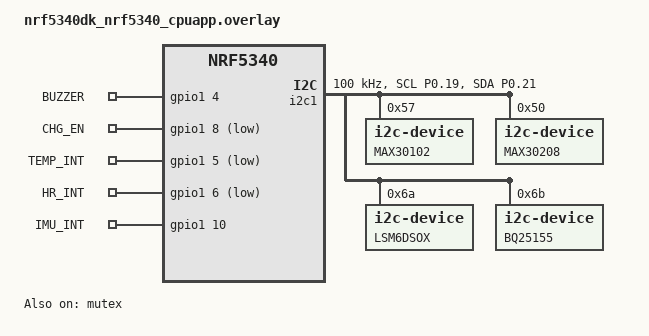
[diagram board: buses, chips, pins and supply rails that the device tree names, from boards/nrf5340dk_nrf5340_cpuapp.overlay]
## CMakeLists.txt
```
# -----------------------------------------------------------------------------
# File: CMakeLists.txt
# Purpose: Full CMake setup for the VitalLink wristband firmware.
# -----------------------------------------------------------------------------

cmake_minimum_required(VERSION 3.20.0)

# Zephyr + project
find_package(Zephyr REQUIRED HINTS $ENV{ZEPHYR_BASE})
project(vitalink_band)

# Public headers
target_include_directories(app PRIVATE
  ${CMAKE_CURRENT_SOURCE_DIR}/include
)

# Devicetree overlay (auto-pick if present)
set(_OVERLAY_PATH ${CMAKE_CURRENT_SOURCE_DIR}/boards/nrf5340dk_nrf5340_cpuapp.overlay)
if(EXISTS ${_OVERLAY_PATH})
  set(DTC_OVERLAY_FILE ${_OVERLAY_PATH} CACHE STRING "" FORCE)
endif()

# Sources (raw I2C paths; no ppg_engine.c)
target_sources(app PRIVATE
  src/main.c
  src/sensors_vitalink.c
  src/pmic_bq25155.c
)

# Math lib for sqrt() used in sensors_vitalink.c
target_link_libraries(app PRIVATE m)
```

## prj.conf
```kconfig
# ---------------------------------------------------------------------------
# VitalLink Band — prj.conf (nRF5340DK / NCS 2.9.x)
# ---------------------------------------------------------------------------

# ===== Bluetooth Core (Peripheral role) =====
CONFIG_BT_HCI=y
CONFIG_BT=y
CONFIG_BT_PERIPHERAL=y
CONFIG_BT_DEVICE_NAME_DYNAMIC=y
CONFIG_BT_PRIVACY=y
CONFIG_BT_SMP=y
CONFIG_BT_SETTINGS=y
CONFIG_SETTINGS=y
CONFIG_FLASH=y
CONFIG_FLASH_MAP=y # shouldnt be an issue
CONFIG_NVS=y

# ===== Bufs / MTU =====
CONFIG_BT_BUF_ACL_RX_SIZE=251
CONFIG_BT_BUF_ACL_TX_SIZE=251
CONFIG_BT_BUF_ACL_TX_COUNT=10
CONFIG_BT_L2CAP_TX_MTU=247
CONFIG_BT_MAX_CONN=1
CONFIG_BT_MAX_PAIRED=8

# ===== I2C / GPIO =====
CONFIG_I2C=y
CONFIG_GPIO=y

# ===== Sensors core =====
CONFIG_SENSOR=y

# ===== Logging over RTT =====
CONFIG_LOG=y
CONFIG_LOG_DEFAULT_LEVEL=3
CONFIG_SEGGER_RTT_MODE_BLOCK_IF_FIFO_FULL=y
CONFIG_USE_SEGGER_RTT=y
CONFIG_LOG_BACKEND_RTT=y
CONFIG_LOG_MODE_IMMEDIATE=y
CONFIG_LOG_MODE_DEFERRED=y
CONFIG_UART_CONSOLE=n
CONFIG_LOG_BACKEND_UART=n
CONFIG_RTT_CONSOLE=y


# ===== QoL / Debug =====
CONFIG_ASSERT=y
CONFIG_THREAD_NAME=y
CONFIG_INIT_STACKS=y

# ===== Stacks =====
CONFIG_MAIN_STACK_SIZE=4096
CONFIG_SYSTEM_WORKQUEUE_STACK_SIZE=4096

# Turn on debug logging for I2C drivers
CONFIG_I2C_LOG_LEVEL_DBG=y
CONFIG_BT_PRIVACY=n
CONFIG_BT_DEVICE_NAME_DYNAMIC=y
CONFIG_BT_DEVICE_NAME="VitalLink"
CONFIG_BT_AUTO_PHY_UPDATE=n
```

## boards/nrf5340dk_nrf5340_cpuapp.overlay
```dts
/* boards/nrf5340dk_nrf5340_cpuapp.overlay
 *
 * VitalLink wristband overlay (nRF5340 DK app core)
 * - I2C1 on P0.19 (SCL) / P0.21 (SDA)
 * - Buzzer on P1.04 (active-high)
 * - Temp INT=P1.05 (active-low), HR INT=P1.06 (active-low), IMU INT=P1.10 (active-high)
 * - CHG_EN on P1.08 (active-low to enable)
 * - I2C devices: MAX30102 @0x57, MAX30208 @0x4A, LSM6DSOX @0x6A, BQ25155 @0x6B
 */

/* --- I2C1 pinctrl --- */
&pinctrl {
	i2c1_default: i2c1_default {
		group1 {
			psels = <NRF_PSEL(TWIM_SCL, 0, 19)>,
			        <NRF_PSEL(TWIM_SDA, 0, 21)>;
		};
	};

	i2c1_sleep: i2c1_sleep {
		group1 {
			psels = <NRF_PSEL(TWIM_SCL, 0, 19)>,
			        <NRF_PSEL(TWIM_SDA, 0, 21)>;
			low-power-enable;
		};
	};
};

/* --- I2C1 controller + devices --- */
&i2c1 {
	status = "okay";
	clock-frequency = <I2C_BITRATE_STANDARD>; /* 100 kHz */
	pinctrl-0 = <&i2c1_default>;
	pinctrl-1 = <&i2c1_sleep>;
	pinctrl-names = "default", "sleep";

	/* MAX30102 Heart Rate / SpO2 sensor */
	max30102@57 {
		compatible = "i2c-device";
		// compatible = "maxim,max30102";
		reg = <0x57>;
		status = "okay";
		label = "MAX30102";
	};

	/* MAX30208 Skin Temperature sensor*/
	max30208@50 {
		compatible = "i2c-device";
		// compatible = "maxim,max30208";
		reg = <0x50>;
		status = "okay";
		label = "MAX30208";
	};

	/* LSM6DSOX 6-axis IMU */
	lsm6dsox@6a {
		compatible = "i2c-device";
		// compatible = "st,lsm6dsox";
		reg = <0x6a>; /* 0x6b if SA0 high */
		status = "okay";
		label = "LSM6DSOX";
	};

	/* TI BQ25155 PMIC / Charger (node present even if no driver in use) */
	bq25155@6b {
		compatible = "i2c-device";
		// compatible = "ti,bq25155";
		reg = <0x6b>;
		status = "okay";
		label = "BQ25155";
	};
};

/* --- GPIO-backed peripherals & aliases --- */
 / {
	/* Buzzer (P1.04, active-high) */
	buzzer_grp: buzzer_grp {
		compatible = "gpio-leds";
		buzzer: buzzer {
			gpios = <&gpio1 4 GPIO_ACTIVE_HIGH>;
			label = "BUZZER";
		};
	};

	/* Charge enable to BQ25155 CE_N (P1.08, active-low = enable) */
	chg_grp: chg_grp {
		compatible = "gpio-leds";
		chg_en: chg_en {
			gpios = <&gpio1 8 GPIO_ACTIVE_LOW>;
			label = "CHG_EN";
		};
	};

	/* Sensor interrupt inputs */
	ints: ints {
		compatible = "gpio-keys";

		/* MAX30208 TEMP_INT: active LOW */
		temp_int: temp_int {
			gpios = <&gpio1 5 GPIO_ACTIVE_LOW>;  /* P1.05 */
			label = "TEMP_INT";
		};

		/* MAX30102 HR_INT: active LOW */
		hr_int: hr_int {
			gpios = <&gpio1 6 GPIO_ACTIVE_LOW>;  /* P1.06 */
			label = "HR_INT";
		};

		/* LSM6DSOX IMU_INT: active HIGH */
		imu_int: imu_int {
			gpios = <&gpio1 10 GPIO_ACTIVE_HIGH>; /* P1.10 */
			label = "IMU_INT";
		};
	};

	/* === Aliases that match DT_ALIAS(...) calls in code (use underscores) === */
	aliases {
		i2c-ppg = &i2c1;
		buzzer = &buzzer;
		chg-en  = &chg_en;
		temp-int = &temp_int;
		hr-int   = &hr_int;
		imu-int  = &imu_int;
	};

	ipc {
		status = "okay";
	};
};

&cryptocell {
	status = "disabled";
};

&uart0 {
    status = "disabled";
};
&mutex {
	status = "okay";
};

&mbox {
	status = "okay";
};

&arduino_adc {
	io-channel-map = <0 &adc 0>, <1 &adc 1>, <2 &adc 2>, <3 &adc 3>, <4 &adc 4>, <5 &adc 5>;
};
```

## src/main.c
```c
/* -----------------------------------------------------------------------------
 * File: src/main.c
 * Purpose: VitalLink wristband firmware (nRF5340 DK, NCS v2.9.2)
 *
 * Key features:
 *  - BLE Peripheral with dynamic device name "VitalLink-XXXX"
 *  - Custom GATT service + NOTIFY characteristic (UUIDs in vitalink_uuids.h)
 *  - 1 Hz vitals sampling via sensors_vitalink (raw I2C for MAX30102/LSM6DSOX/MAX30208),
 *    tiering, checksum
 *  - BATTERY + CHARGING via BQ25155 over I2C:
 *      * Low-battery flag injected into packet flags
 *      * "Docked idle" while charging: stop BLE/sampling, poll PMIC every 3 s,
 *        resume automatically when unplugged
 *  - Optional buzzer (P1.04 active-high) on EMERGENCY tier
 *  - I2C1 on P0.19 (SCL) / P0.21 (SDA) for sensors + PMIC
 * --------------------------------------------------------------------------- */

#include <zephyr/kernel.h>
#include <zephyr/settings/settings.h>
#include <zephyr/device.h>
#include <zephyr/devicetree.h>
#include <zephyr/drivers/i2c.h>
#include <zephyr/drivers/gpio.h>
#include <zephyr/bluetooth/bluetooth.h>
#include <zephyr/bluetooth/gatt.h>
#include <zephyr/bluetooth/hci.h>
#include <zephyr/logging/log.h>
#include <stdbool.h>
#include <string.h>

#include "sensors_vitalink.h"
#include "vitalink_uuids.h"
#include "vitalink_proto.h"
#include "pmic_bq25155.h"

LOG_MODULE_REGISTER(vitalink, LOG_LEVEL_INF);

/* ===== I2C handle (sensors + PMIC) ======================================= */
/* Overlay alias is 'i2c-ppg'; Zephyr macro uses underscore form 'i2c_ppg' */
#define I2C_NODE DT_ALIAS(i2c_ppg)
static const struct device *i2c0_dev;

/* ===== Optional buzzer (active-high in devicetree) ======================= */
#if DT_NODE_HAS_STATUS(DT_ALIAS(buzzer), okay)
#define HAS_BUZZER 1
static const struct gpio_dt_spec buzzer = GPIO_DT_SPEC_GET(DT_ALIAS(buzzer), gpios);
#else
#define HAS_BUZZER 0
#endif

/* ===== Aliased GPIOs for INTs and charge enable ========================== */
static const struct gpio_dt_spec pin_temp_int = GPIO_DT_SPEC_GET(DT_ALIAS(temp_int), gpios);
static const struct gpio_dt_spec pin_hr_int   = GPIO_DT_SPEC_GET(DT_ALIAS(hr_int),   gpios);
static const struct gpio_dt_spec pin_imu_int  = GPIO_DT_SPEC_GET(DT_ALIAS(imu_int),  gpios);
static const struct gpio_dt_spec pin_chg_en   = GPIO_DT_SPEC_GET(DT_ALIAS(chg_en),   gpios);

/* ===== BLE UUIDs ========================================================= */
static struct bt_uuid_128 svc_uuid = VITALINK_SERVICE_UUID_INIT;
static struct bt_uuid_128 chr_uuid = VITALS_CHAR_UUID_INIT;

/* CCC subscription flag */
static uint8_t notify_enabled;

/* OPTIONAL: track connection so notify targets the active central */
static struct bt_conn *current_conn;

/* ===== Battery thresholds (mV) =========================================== */
#define LOW_BATT_ALERT_MV    3500
#define LOW_BATT_RECOVER_MV  3600

/* ===== Tier thresholds (defaults; refine clinically later) =============== */
#define HR_ALERT_BPM        120
#define HR_EMERG_BPM        140
#define SPO2_ALERT_PCT       92
#define SPO2_EMERG_PCT       88
#define TEMP_ALERT_C_X100  3800   /* 38.00 C */
#define TEMP_EMERG_C_X100  3950   /* 39.50 C */

#define BUZZER_ON_MS_EMERG  300

/* "extreme motion" (possible fall)          */
/* act_rms_x100 is RMS acceleration in g * 100 (≈200 at 2 g full-scale).    */
#define FALL_ACCEL_THRESHOLD_X100  300   /* ~1.8 g – tweak based on testing */

/* ===== App state ========================================================= */
enum run_state { RUN_NORMAL = 0, DOCKED_IDLE = 1 };
static enum run_state pwr_state = RUN_NORMAL;
static bool low_batt_flag = false;

static struct k_work_delayable tick_work;   /* 1 Hz vitals */
static struct k_work_delayable pmic_work;   /* 3 s PMIC poll */
static uint16_t seq;

/* ===== GATT service/CCC ================================================== */
static void ccc_cfg_changed(const struct bt_gatt_attr *attr, uint16_t value)
{
	notify_enabled = (value == BT_GATT_CCC_NOTIFY);
	LOG_INF("Notify %s", notify_enabled ? "ENABLED" : "DISABLED");
}

/* Attr idx:
 * [0] Primary Service
 * [1] Char Declaration
 * [2] Char VALUE (notify targets this)
 * [3] CCC
 */
BT_GATT_SERVICE_DEFINE(vitalink_svc,
	BT_GATT_PRIMARY_SERVICE(&svc_uuid),
	BT_GATT_CHARACTERISTIC(&chr_uuid.uuid,
		BT_GATT_CHRC_NOTIFY,
		BT_GATT_PERM_NONE,
		NULL, NULL, NULL),
	BT_GATT_CCC(ccc_cfg_changed, BT_GATT_PERM_READ | BT_GATT_PERM_WRITE)
);

/* ===== Connection callbacks ============================================== */
static void connected(struct bt_conn *conn, uint8_t err)
{
	if (err) {
		LOG_WRN("Connected failed (err %u)", err);
		return;
	}
	current_conn = bt_conn_ref(conn);
	LOG_INF("Connected");
}

static void disconnected(struct bt_conn *conn, uint8_t reason)
{
	ARG_UNUSED(conn);
	LOG_INF("Disconnected (reason %u)", reason);
	if (current_conn) {
		bt_conn_unref(current_conn);
		current_conn = NULL;
	}
}

BT_CONN_CB_DEFINE(conn_cb) = {
	.connected = connected,
	.disconnected = disconnected,
};

/* ===== BLE name + address helper ========================================= */
#define VITALINK_DYN_NAME_MAX 32

static void set_dynamic_name_from_addr(void)
{
    bt_addr_le_t addrs[CONFIG_BT_ID_MAX];
    size_t count = CONFIG_BT_ID_MAX;

    /* bt_id_get() fills addrs[0..count-1] and updates count */
    bt_id_get(addrs, &count);

    if (count == 0) {
        LOG_WRN("No BLE identities found; keeping default name");
        return;
    }

    const uint8_t *v = addrs[0].a.val; /* 6 bytes, LE order */

    char dyn_name[VITALINK_DYN_NAME_MAX];
    snprintk(dyn_name, sizeof(dyn_name), "VitalLink-%02X%02X", v[1], v[0]);

    int err = bt_set_name(dyn_name);
    if (err) {
        LOG_WRN("bt_set_name failed (%d)", err);
    } else {
        LOG_INF("BLE name set to: %s", dyn_name);
    }
}



#define VITALLINK_NAME "VitalLink-5CB3"

/* explicit AD payload bytes so the compiler is happy */
static const uint8_t adv_flags[] = {
    BT_LE_AD_GENERAL | BT_LE_AD_NO_BREDR,
};

static const uint8_t adv_name[] = VITALLINK_NAME;

static int start_advertising(void)
{
    /* explicit advertising data: Flags + Complete Local Name */
    static const struct bt_data ad[] = {
        BT_DATA(BT_DATA_FLAGS, adv_flags, sizeof(adv_flags)),
        BT_DATA(BT_DATA_NAME_COMPLETE, adv_name, sizeof(adv_name) - 1),
    };

    /* connectable legacy advertising params */
    static const struct bt_le_adv_param adv = BT_LE_ADV_PARAM_INIT(
        BT_LE_ADV_OPT_CONNECTABLE,      /* no USE_NAME here, we put name in AD */
        BT_GAP_ADV_FAST_INT_MIN_2,
        BT_GAP_ADV_FAST_INT_MAX_2,
        NULL
    );

    return bt_le_adv_start(&adv, ad, ARRAY_SIZE(ad), NULL, 0);
}



// static int start_advertising(void)
// {
// 	static const struct bt_le_adv_param adv = BT_LE_ADV_PARAM_INIT(
// 		BT_LE_ADV_OPT_CONNECTABLE | BT_LE_ADV_OPT_USE_NAME,
// 		BT_GAP_ADV_FAST_INT_MIN_2,
// 		BT_GAP_ADV_FAST_INT_MAX_2,
// 		NULL
// 	);
// 	return bt_le_adv_start(&adv, NULL, 0, NULL, 0);
// }

/* ===== Checksum helper (8-bit) ========================================== */
static uint8_t checksum8(const uint8_t *p, size_t n)
{
	uint32_t sum = 0;
	for (size_t i = 0; i < n; i++) sum += p[i];
	return (uint8_t)(sum & 0xFF);
}

/* ===== Tier logic ======================================================== */
static uint8_t decide_flags(uint8_t hr_bpm, uint8_t spo2, int16_t skin_c_x100)
{
	if (hr_bpm >= HR_EMERG_BPM || spo2 <= SPO2_EMERG_PCT || skin_c_x100 >= TEMP_EMERG_C_X100) {
		return VFLAG_EMERGENCY;
	}
	if (hr_bpm >= HR_ALERT_BPM || spo2 <= SPO2_ALERT_PCT || skin_c_x100 >= TEMP_ALERT_C_X100) {
		return VFLAG_ALERT;
	}
	return 0;
}

static inline uint8_t apply_system_flags(uint8_t base_flags)
{
	if (low_batt_flag) base_flags |= VFLAG_LOW_BATT;
	return base_flags;
}

static void buzzer_pulse_emergency(void)
{
#if HAS_BUZZER
	if (!device_is_ready(buzzer.port)) {
		LOG_WRN("buzzer port not ready in pulse");
		return;
	}

	/* NOTE: assumes buzzer is active-high in devicetree; change if PCB is active-low */
	LOG_INF("Emergency buzzer pulse");
	gpio_pin_set_dt(&buzzer, 1);
	k_sleep(K_MSEC(BUZZER_ON_MS_EMERG));
	gpio_pin_set_dt(&buzzer, 0);
#endif
}

/* ===== Packet debug logging ============================================= */
static void log_vitals_debug(const struct vitals_pkt *p, bool will_tx)
{
    /* Pretty-print temperature from x100 format */
    int16_t t = p->skin_c_x100;
    int16_t t_whole = t / 100;
    int16_t t_frac  = t >= 0 ? (t % 100) : -(t % 100);

    LOG_INF("VITALS %s: ver=%u seq=%u ts_ms=%u flags=0x%02x "
            "HR=%u BPM SpO2=%u%% Temp=%d.%02d C act_rms_x100=%u checksum=0x%02X",
            will_tx ? "[TX]" : "[NO-TX]",
            p->ver,
            p->seq,
            p->ts_ms,
            p->flags,
            p->hr_bpm,
            p->spo2,
            t_whole,
            t_frac,
            p->act_rms_x100,
            p->checksum);

}

/* ===== Notify helper ===================================================== */
static void send_vitals(const struct vitals_pkt *pkt)
{
    if (!notify_enabled) {
        LOG_DBG("Notification skipped: CCCD disabled");
        return;
    }

    const struct bt_gatt_attr *attr = &vitalink_svc.attrs[2]; /* value attr */
    int err = bt_gatt_notify(current_conn, attr, pkt, sizeof(*pkt));
    if (err == -ENOTCONN) {
        /* Try all connections if current_conn is gone */
        err = bt_gatt_notify(NULL, attr, pkt, sizeof(*pkt));
    }

    if (err) {
        LOG_WRN("notify err %d", err);
    } else {
        int16_t t_whole = pkt->skin_c_x100 / 100;
        int16_t t_frac  = pkt->skin_c_x100 >= 0 ?
                          (pkt->skin_c_x100 % 100) : -(pkt->skin_c_x100 % 100);

        LOG_INF("notify OK (seq=%u, flags=0x%02x, HR=%u, SpO2=%u, "
                "Temp=%d.%02d C, act_rms_x100=%u)",
                pkt->seq, pkt->flags,
                pkt->hr_bpm, pkt->spo2,
                t_whole, t_frac,
                pkt->act_rms_x100);
    }
}


/* ===== Sampling policy =================================================== */
#define NORMAL_HEARTBEAT_MS (60 * 1000)
static uint32_t last_normal_sent_ms = 0;

/* ===== 1 Hz vitals tick ================================================== */
static void tick_fn(struct k_work *work)
{
    ARG_UNUSED(work);

    /* Keep last-good values to bridge noisy windows */
    static uint8_t  last_hr_bpm       = 0;
    static uint8_t  last_spo2         = 0;
    static int16_t  last_skin_c_x100  = 0;
    static uint16_t last_act_rms_x100 = 0;

    uint8_t  hr_bpm;
    uint8_t  spo2;
    int16_t  skin_c_x100;
    uint16_t act_rms_x100;

    /* Single facade call now does everything via raw I2C */
    int s_ok = sensors_read(&hr_bpm, &spo2, &skin_c_x100, &act_rms_x100);
	if (s_ok < 0) {
		LOG_WRN("sensors_read failed (%d); using last values HR=%u, SpO2=%u, Temp=%d, act_rms_x100=%u",
				s_ok, last_hr_bpm, last_spo2, last_skin_c_x100, last_act_rms_x100);

		hr_bpm       = last_hr_bpm;
		spo2         = last_spo2;
		skin_c_x100  = last_skin_c_x100;
		act_rms_x100 = last_act_rms_x100;
	} else {
		LOG_INF("sensors_read OK: HR=%u, SpO2=%u, Temp_x100=%d, act_rms_x100=%u",
				hr_bpm, spo2, skin_c_x100, act_rms_x100);

		last_hr_bpm       = hr_bpm;
		last_spo2         = spo2;
		last_skin_c_x100  = skin_c_x100;
		last_act_rms_x100 = act_rms_x100;
	}

    if (spo2 > 100) spo2 = 100;

    /* Base tier decision from HR / SpO2 / Temp */
    uint8_t flags = decide_flags(hr_bpm, spo2, skin_c_x100);

    /* Extreme motion (possible fall): treat as EMERGENCY as well */
    bool fall_like_motion = (act_rms_x100 >= FALL_ACCEL_THRESHOLD_X100);
    if (fall_like_motion) {
        flags |= VFLAG_EMERGENCY;
        LOG_WRN("Extreme motion detected (act_rms_x100=%u) -> EMERGENCY", act_rms_x100);
    }

    /* Add system-level flags (low battery, etc.) */
    flags = apply_system_flags(flags);

    struct vitals_pkt p = {0};
    p.ver   = VITALINK_PROTO_VER;
    p.seq   = seq++;
    p.ts_ms = k_uptime_get_32();
    p.flags = flags;
    p.hr_bpm       = hr_bpm;
    p.spo2         = spo2;
    p.skin_c_x100  = skin_c_x100;
    p.act_rms_x100 = act_rms_x100;
    p.checksum     = checksum8((const uint8_t *)&p, 14);

    bool should_send = false;
    if (flags & (VFLAG_ALERT | VFLAG_EMERGENCY)) {
        /* ALERT / EMERGENCY: always push immediately */
        should_send = true;
        if (flags & VFLAG_EMERGENCY) {
            buzzer_pulse_emergency();
        }
    } else {
        /* NORMAL: rate-limit BLE to 1 packet per minute */
        uint32_t now = p.ts_ms;
        if ((now - last_normal_sent_ms) >= NORMAL_HEARTBEAT_MS) {
            should_send = true;
            last_normal_sent_ms = now;
        }
    }

    /* NEW: log full packet + fields EVERY SECOND, even if we don't send */
    log_vitals_debug(&p, should_send);

    /* Only actually notify over BLE when warranted */
    if (should_send) {
        send_vitals(&p);
    }

    /* Keep a compact "human" log each second too, if you like: */
    int16_t t_whole = p.skin_c_x100 / 100;
    int16_t t_frac  = p.skin_c_x100 >= 0 ?
                      (p.skin_c_x100 % 100) : -(p.skin_c_x100 % 100);

    LOG_INF("HR=%u BPM, SpO2=%u%%, Temp=%d.%02d C, act_rms_x100=%u %s%s",
            p.hr_bpm,
            p.spo2,
            t_whole, t_frac,
            p.act_rms_x100,
            (flags & VFLAG_LOW_BATT) ? "[LOW_BATT] " : "",
            (flags & VFLAG_EMERGENCY) ? "[EMERG]" :
            (flags & VFLAG_ALERT) ? "[ALERT]" : "");

    /* Re-arm the 1 Hz tick */
    k_work_schedule(&tick_work, K_SECONDS(1));
}


/* ===== PMIC polling: low-batt + docked-idle ============================== */
static void enter_docked_idle(void)
{
	if (pwr_state == DOCKED_IDLE) return;
	bt_le_adv_stop();
	k_work_cancel_delayable(&tick_work);
	pwr_state = DOCKED_IDLE;
	LOG_INF("Docked: charging → pause BLE/sampling");
}

static void exit_docked_idle(void)
{
	if (pwr_state == RUN_NORMAL) return;
	int err = start_advertising();
	if (err) LOG_WRN("adv restart err %d", err);
	k_work_schedule(&tick_work, K_SECONDS(1));
	pwr_state = RUN_NORMAL;
	LOG_INF("Undocked: resume BLE/sampling");
}

static void pmic_fn(struct k_work *work)
{
	ARG_UNUSED(work);
	bool usb_ok=false, charging=false;
	uint16_t vbat_mv=0;

	int s1 = bq25155_read_status(i2c0_dev, &usb_ok, &charging);
	int s2 = bq25155_read_vbat_mv(i2c0_dev, &vbat_mv);

	if (s2 == 0) {
		if (!low_batt_flag && vbat_mv <= LOW_BATT_ALERT_MV) {
			low_batt_flag = true;
			LOG_WRN("Low battery: %u mV", vbat_mv);
		} else if (low_batt_flag && vbat_mv >= LOW_BATT_RECOVER_MV) {
			low_batt_flag = false;
			LOG_INF("Battery recovered: %u mV", vbat_mv);
		}
	}

	if (s1 == 0) {
		if (charging && pwr_state == RUN_NORMAL) {
			enter_docked_idle();
		} else if (!charging && pwr_state == DOCKED_IDLE) {
			exit_docked_idle();
		}
	}

	k_work_schedule(&pmic_work, K_SECONDS(3));
}

/* ===== BLE ready callback ================================================ */
static void bt_ready_cb(int err)
{
    if (err) {
        LOG_ERR("Bluetooth init failed (%d)", err);
        return;
    }

    LOG_INF("bt_ready_cb: controller up");

    /* Load persisted settings (includes BT identity, IRK, etc.) */
    if (IS_ENABLED(CONFIG_BT_SETTINGS)) {
        int s_err = settings_load();
        if (s_err) {
            LOG_WRN("settings_load failed (%d)", s_err);
        } else {
            LOG_INF("settings_load done");
        }
    }

    /* Now we should have at least one identity → set dynamic name */
    set_dynamic_name_from_addr();

	const char *name = bt_get_name();
	if (name && name[0] != '\0') {
		LOG_INF("BLE local name: %s", name);
	} else {
		LOG_INF("BLE local name is empty or unavailable");
	}

    bt_addr_le_t addrs[CONFIG_BT_ID_MAX];
    size_t count = CONFIG_BT_ID_MAX;
    bt_id_get(addrs, &count);
    if (count > 0) {
        char addr_str[BT_ADDR_LE_STR_LEN];
        bt_addr_le_to_str(&addrs[0], addr_str, sizeof(addr_str));
        LOG_INF("BLE identity[0]: %s", addr_str);
    } else {
        LOG_WRN("Still no BLE identities after settings_load");
    }

    /* Finally start advertising */
    int adv_err = start_advertising();
    if (adv_err) {
        LOG_ERR("Advertising start failed (%d)", adv_err);
    } else {
        LOG_INF("Advertising started");
    }
}



/* ===== App entry ========================================================= */
void main(void)
{
	/* I2C dev */
	i2c0_dev = DEVICE_DT_GET(I2C_NODE);
	LOG_INF("HELLO123");

	if (!device_is_ready(i2c0_dev)) {
		LOG_ERR("I2C not ready");
	} else {
		/* PMIC init */
		(void)bq25155_init(i2c0_dev);

		/* Initialize sensor facade (raw I2C paths) */
		int sret = sensors_init(i2c0_dev);
		if (sret) {
			LOG_WRN("sensors_init returned %d (falling back to last-good if needed)", sret);
		}

		/* If already charging at boot, enter DOCKED_IDLE right away */
		bool usb_ok = false, charging = false;
		if (bq25155_read_status(i2c0_dev, &usb_ok, &charging) == 0) {
			if (charging && pwr_state == RUN_NORMAL) {
				enter_docked_idle();  /* stops adv + sampling (once BLE is up) */
			}
		}
	}

	/* Buzzer smoke test at boot */
#if HAS_BUZZER
	if (!device_is_ready(buzzer.port)) {
		LOG_ERR("buzzer port not ready");
	} else {
		LOG_INF("Configuring buzzer pin %d", buzzer.pin);
		int e = gpio_pin_configure_dt(&buzzer, GPIO_OUTPUT_INACTIVE);
		if (e) {
			LOG_ERR("buzzer gpio cfg err %d", e);
		} else {
			LOG_INF("Buzzer ON (boot test)");
			int e1 = gpio_pin_set_dt(&buzzer, 1);
			if (e1) LOG_ERR("buzzer set(1) err %d", e1);
			k_sleep(K_MSEC(BUZZER_ON_MS_EMERG));
			LOG_INF("Buzzer OFF (boot test)");
			int e2 = gpio_pin_set_dt(&buzzer, 0);
			if (e2) LOG_ERR("buzzer set(0) err %d", e2);
		}
	}
#endif

	/* INT inputs + charge enable default (enable charger: CE_N low) */
	if (device_is_ready(pin_temp_int.port)) {
		int e = gpio_pin_configure_dt(&pin_temp_int, GPIO_INPUT);
		if (e) { LOG_WRN("temp_int cfg err %d", e); }
	}
	if (device_is_ready(pin_hr_int.port)) {
		int e = gpio_pin_configure_dt(&pin_hr_int, GPIO_INPUT);
		if (e) { LOG_WRN("hr_int cfg err %d", e); }
	}
	if (device_is_ready(pin_imu_int.port)) {
		int e = gpio_pin_configure_dt(&pin_imu_int, GPIO_INPUT);
		if (e) { LOG_WRN("imu_int cfg err %d", e); }
	}
	if (device_is_ready(pin_chg_en.port)) {
		int e = gpio_pin_configure_dt(&pin_chg_en, GPIO_OUTPUT_ACTIVE);
		if (e) { LOG_WRN("chg_en cfg err %d", e); }
	}

	/* Start BLE */
	int err = bt_enable(bt_ready_cb);
	if (err) {
		LOG_ERR("bt_enable failed: %d", err);
		return;
	}

	if (pwr_state == DOCKED_IDLE) {
		/* If we decided we were docked at boot, make sure BLE is paused */
		bt_le_adv_stop();
		LOG_INF("Booted in docked state: BLE/sampling paused");
	}

	/* start 1 Hz sampler/publisher (only in RUN_NORMAL) */
	k_work_init_delayable(&tick_work, tick_fn);
	if (pwr_state == RUN_NORMAL) {
		k_work_schedule(&tick_work, K_SECONDS(1));
	}

	/* start PMIC polling (low-batt + docked-idle) */
	k_work_init_delayable(&pmic_work, pmic_fn);
	k_work_schedule(&pmic_work, K_SECONDS(3));
}
```

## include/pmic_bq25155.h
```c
/* -----------------------------------------------------------------------------
 * BQ25155 I2C helper (status + battery voltage + basic config)
 * --------------------------------------------------------------------------- */
#pragma once
#include <zephyr/device.h>
#include <stdint.h>

#ifdef __cplusplus
extern "C" {
#endif

/* Typical TI addr if A0/A1 strapped low */
#ifndef BQ25155_I2C_ADDR
#define BQ25155_I2C_ADDR 0x6B
#endif

/* ---- registers / bits (from datasheet) ---- */
#define BQ25155_REG_STATUS       0x0B      /* Status register */
#define  BQ25155_STATUS_USB_OK   (1u << 0) /* VBUS/PG present */
#define  BQ25155_STATUS_CHG      (1u << 1) /* Charging active */

#define BQ25155_REG_BAT_MSB      0x14      /* VBAT MSB */
#define BQ25155_REG_BAT_LSB      0x15      /* VBAT LSB (upper 2 bits) */
/* Scaling: 8 mV per LSB for a 10-bit value */
#define BQ25155_VBAT_LSB_MV      8

/* New: ILIM and LDO control registers */
#define BQ25155_REG_ILIMCTRL     0x19      /* Input current limit control */
#define BQ25155_REG_LDOCTRL      0x1D      /* LDO / LS control */

/* ILIMCTRL ILIM_2:0 codes (Table 9-28) */
#define BQ25155_ILIM_50MA        0b000
#define BQ25155_ILIM_100MA       0b001  /* used 100 ma instead of 75 ma since there was no 75 (closest to requested 75 mA) */
#define BQ25155_ILIM_150MA       0b010
#define BQ25155_ILIM_200MA       0b011
#define BQ25155_ILIM_300MA       0b100
#define BQ25155_ILIM_400MA       0b101
#define BQ25155_ILIM_500MA       0b110
#define BQ25155_ILIM_600MA       0b111

/* LDOCTRL VLDO_4:0 code for 3.3 V
 * From datasheet: V_LDO = 600 mV + VLDO_code * 100 mV
 * 3.3 V → (3.3 - 0.6) / 0.1 = 27 → 0b11011
 */
#define BQ25155_LDO_V_3V3_CODE   27u

int bq25155_init(const struct device *i2c);
int bq25155_read_status(const struct device *i2c, bool *usb_present, bool *charging);
int bq25155_read_vbat_mv(const struct device *i2c, uint16_t *vbat_mv);

#ifdef __cplusplus
}
#endif
```

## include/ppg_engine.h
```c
/* -----------------------------------------------------------------------------
 * PPG Engine (MAX30102) – public API
 *  - Starts a 50 Hz sampler that reads IR/RED via Zephyr's MAX30102 driver
 *  - Maintains an internal ring buffer
 *  - On request, computes HR/SpO2 from the last 4 s window
 * -------------------------------------------------------------------------- */
#pragma once
#include <zephyr/device.h>
#include <stdbool.h>
#include <stdint.h>

/* Initialize and start sampling at ~50 Hz (returns 0 if running). */
int ppg_engine_init(void);

/* Stop sampling (optional). */
void ppg_engine_stop(void);

/* Get most recent estimates.
 * On success: returns 0, sets *hr_bpm / *spo2_pct and validity flags.
 * If invalid/noisy window: returns -EAGAIN.
 */
int ppg_engine_latest(uint8_t *hr_bpm, bool *hr_valid,
                      uint8_t *spo2_pct, bool *spo2_valid);
```

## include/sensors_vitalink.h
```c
/* -----------------------------------------------------------------------------
 * File: include/sensors_vitalink.h
 * Purpose: Thin sensor facade for VitalLink
 *  - Hides whether we use Zephyr drivers or raw I2C
 *  - Exposes init() and a single sensors_read() to the app
 *
 * Exposed data:
 *   - hr_bpm (MAX30102 or dummy)
 *   - spo2   (MAX30102 or dummy)
 *   - skin_c_x100 (MAX30208 via raw I2C, or dummy)
 *   - act_rms_x100 (LSM6DSOX or dummy)
 * --------------------------------------------------------------------------- */

#pragma once
#include <stdint.h>
#include <zephyr/device.h>

/* Initialize the sensor layer. Provide the I2C controller we’ll use for raw I2C. */
int sensors_init(const struct device *i2c_dev);

/* Read a single “snapshot” of vitals. Returns 0 on full success, <0 if any field is dummy. */
int sensors_read(uint8_t *hr_bpm,
                 uint8_t *spo2,
                 int16_t *skin_c_x100,
                 uint16_t *act_rms_x100);
```

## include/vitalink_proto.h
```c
/* -----------------------------------------------------------------------------
 * File: vitalink_proto.h
 * Purpose: Defines the 16-byte telemetry packet we notify over BLE and
 *          small helpers to compute/verify the checksum and manipulate flags.
 *
 * Packet layout (little-endian):
 *   Byte  [0]      : uint8_t  ver          (protocol version)
 *   Bytes [1..2]   : uint16_t seq          (sequence id, LE)
 *   Bytes [3..6]   : uint32_t ts_ms        (ms since boot, LE)
 *   Byte  [7]      : uint8_t  flags        (bit flags below)
 *   Byte  [8]      : uint8_t  hr_bpm       (beats per minute)
 *   Byte  [9]      : uint8_t  spo2         (%)
 *   Bytes [10..11] : int16_t  skin_c_x100  (centi-deg C, LE; 36.50C => 3650)
 *   Bytes [12..13] : uint16_t act_rms_x100 (activity metric x100, LE)
 *   Byte  [14]     : uint8_t  checksum     (sum of bytes [0..13] mod 256)
 *   Byte  [15]     : uint8_t  rfu          (reserved/pad, transmit as 0)
 *
 * Integrity (checksum):
 *   checksum = (sum of pkt bytes 0..13) & 0xFF
 *
 * Flags (bit meanings):
 *   bit0 : Motion artifact
 *   bit1 : Low battery
 *   bit2 : Sensor fault
 *   bit3 : Alert tier (moderate concern)
 *   bit4 : Emergency tier (critical concern)
 *   bit5..7 : reserved
 *
 * Notes:
 *   - NORMAL = both ALERT and EMERGENCY bits clear (0).
 *   - Bump VITALINK_PROTO_VER if you change this layout.
 *   - Includes vitals_finalize() to set ver, zero RFU, and fill checksum.
 * --------------------------------------------------------------------------- */

#pragma once
#include <stdint.h>

#ifndef __packed
#define __packed __attribute__((__packed__))
#endif

#define VITALINK_PROTO_VER 1

struct __packed vitals_pkt {
  uint8_t  ver;            /* [0]  protocol version (VITALINK_PROTO_VER)         */
  uint16_t seq;            /* [1..2] LE sequence number                           */
  uint32_t ts_ms;          /* [3..6] LE ms since boot                             */
  uint8_t  flags;          /* [7]  bit flags (see below)                          */
  uint8_t  hr_bpm;         /* [8]  heart rate (BPM)                               */
  uint8_t  spo2;           /* [9]  SpO2 (%)                                       */
  int16_t  skin_c_x100;    /* [10..11] LE 36.50C => 3650                          */
  uint16_t act_rms_x100;   /* [12..13] LE activity metric x100                    */
  uint8_t  checksum;       /* [14] sum of bytes [0..13] & 0xFF                    */
  uint8_t  rfu;            /* [15] reserved (0)                                   */
};

/* Compile-time guard (Zephyr-style assert if available) */
#if defined(CONFIG_ZEPHYR)
  #include <zephyr/sys/util_macro.h>
  BUILD_ASSERT(sizeof(struct vitals_pkt) == 16, "vitals_pkt must be 16 bytes");
#else
  typedef char _vitals_pkt_must_be_16_bytes[ (sizeof(struct vitals_pkt) == 16) ? 1 : -1 ];
#endif

/* Flag bit definitions */
#define VFLAG_MOTION_ARTIFACT  (1u << 0)
#define VFLAG_LOW_BATT         (1u << 1)
#define VFLAG_SENSOR_FAULT     (1u << 2)
#define VFLAG_ALERT            (1u << 3)
#define VFLAG_EMERGENCY        (1u << 4)

/* Checksum helpers */
static inline uint8_t vitals_checksum_compute(const struct vitals_pkt *p)
{
  const uint8_t *b = (const uint8_t *)p;
  uint16_t sum = 0;
  for (int i = 0; i < 14; i++) sum += b[i];
  return (uint8_t)(sum & 0xFF);
}
static inline void vitals_checksum_fill(struct vitals_pkt *p)
{
  p->checksum = vitals_checksum_compute(p);
}
static inline int vitals_checksum_ok(const struct vitals_pkt *p)
{
  return p->checksum == vitals_checksum_compute(p);
}

/* Tier convenience */
static inline void vitals_flags_set_alert(struct vitals_pkt *p)
{
  p->flags |= VFLAG_ALERT;
  p->flags &= (uint8_t)~VFLAG_EMERGENCY;
}
static inline void vitals_flags_set_emergency(struct vitals_pkt *p)
{
  p->flags |= VFLAG_EMERGENCY;
  p->flags &= (uint8_t)~VFLAG_ALERT;
}
static inline void vitals_flags_clear_tiers(struct vitals_pkt *p)
{
  p->flags &= (uint8_t)~(VFLAG_ALERT | VFLAG_EMERGENCY);
}

/* Finalize before TX: set version, zero RFU, and compute checksum */
static inline void vitals_finalize(struct vitals_pkt *p)
{
  p->ver = VITALINK_PROTO_VER;
  p->rfu = 0u;
  vitals_checksum_fill(p);
}
```

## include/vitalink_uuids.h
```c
/* -----------------------------------------------------------------------------
 * File: vitalink_uuids.h
 * Purpose: Holds the custom 128-bit BLE UUIDs used by the project.
 *
 * Notes:
 * - Service UUID identifies the "container"; Characteristic UUID is the data pipe.
 * - exports const objects, simple accessors, and a
 *   convenience macro to include the Service UUID in advertising data.
 * --------------------------------------------------------------------------- */

#pragma once
#include <zephyr/bluetooth/uuid.h>
#include <zephyr/bluetooth/gatt.h>

/* ---- VitalLink Service UUID----------------------------- */
#define VITALINK_SERVICE_UUID_INIT \
  BT_UUID_INIT_128(0xa1,0xa3,0xb2,0xd8,0xe1,0x3f,0x5f,0x9b,0x4b,0x4a,0xa8,0x22,0xf1,0x84,0x5a,0x8f)

/* ---- Vitals Notify Characteristic UUID  ------------------ */
#define VITALS_CHAR_UUID_INIT \
  BT_UUID_INIT_128(0x99,0x11,0x3f,0x5e,0x2a,0x7d,0x5a,0x8d,0x2a,0x4b,0xb2,0x39,0xb7,0xc4,0xe2,0xd3)

/* ---- Exported const objects--------------------- */
static const struct bt_uuid_128 VITALINK_SERVICE_UUID = VITALINK_SERVICE_UUID_INIT;
static const struct bt_uuid_128 VITALS_CHAR_UUID      = VITALS_CHAR_UUID_INIT;

/* ---- Typed accessors for APIs that want struct bt_uuid* ------------------ */
static inline const struct bt_uuid *vitalink_service_uuid(void)
{
  return &VITALINK_SERVICE_UUID.uuid;
}
static inline const struct bt_uuid *vitals_char_uuid(void)
{
  return &VITALS_CHAR_UUID.uuid;
}

/* ---- Advertising helper: 128-bit Service UUID in AD (LSB-first) ---------- */
#define VITALINK_AD_SERVICE_UUID \
  BT_DATA_BYTES(BT_DATA_UUID128_ALL, \
    0xa1,0xa3,0xb2,0xd8,0xe1,0x3f,0x5f,0x9b,0x4b,0x4a,0xa8,0x22,0xf1,0x84,0x5a,0x8f)
```

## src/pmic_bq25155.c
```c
/* -----------------------------------------------------------------------------
 * Minimal BQ25155 I2C helper (status + battery voltage + basic config)
 * --------------------------------------------------------------------------- */
#include <zephyr/drivers/i2c.h>
#include <zephyr/logging/log.h>
#include "pmic_bq25155.h"

LOG_MODULE_REGISTER(bq25155, LOG_LEVEL_INF);

static inline int r8(const struct device *i2c, uint8_t reg, uint8_t *val)
{
    return i2c_reg_read_byte(i2c, BQ25155_I2C_ADDR, reg, val);
}

static inline int w8(const struct device *i2c, uint8_t reg, uint8_t val)
{
    return i2c_reg_write_byte(i2c, BQ25155_I2C_ADDR, reg, val);
}

int bq25155_init(const struct device *i2c)
{
    if (!i2c || !device_is_ready(i2c)) {
        return -ENODEV;
    }

    /* ----------------------------------------------------------
     * 1) Configure input current limit (ILIM)
     *    Spec asked for ~75 mA; the chip only supports discrete
     *    steps, so we choose 100 mA (ILIM_2:0 = 0b001).
     * ---------------------------------------------------------- */
    uint8_t ilim_val = BQ25155_ILIM_100MA;
    int err = w8(i2c, BQ25155_REG_ILIMCTRL, ilim_val);
    if (err) {
        LOG_ERR("BQ25155: ILIM write failed (%d)", err);
        return err;
    }

    /* ----------------------------------------------------------
     * 2) Configure LDO output to 3.3 V
     *
     *    Datasheet: V_LDO = 600 mV + VLDO_code * 100 mV
     *    For 3.3 V → VLDO_code = (3.3 - 0.6) / 0.1 = 27 (0b11011)
     *
     *    LDOCTRL (0x1D):
     *      bit 7   EN_LS_LDO        = 1 (enable LDO)
     *      bits 6:2 VLDO_4:0        = code (27)
     *      bit 1   LDO_SWITCH_CONF  = 0 (LDO mode, not load switch)
     *      bit 0   RESERVED         = 0
     * ---------------------------------------------------------- */
    uint8_t ldo_code = (uint8_t)(BQ25155_LDO_V_3V3_CODE & 0x1F);
    uint8_t ldo_val =
        (1u << 7) |          /* EN_LS_LDO = 1 (enable) */
        (ldo_code << 2) |    /* VLDO_4:0 code for 3.3 V */
        (0u << 1);           /* LDO mode, not load switch */

    err = w8(i2c, BQ25155_REG_LDOCTRL, ldo_val);
    if (err) {
        LOG_ERR("BQ25155: LDO write failed (%d)", err);
        return err;
    }

    LOG_INF("BQ25155 init: ILIM=100mA, LDO=3.3V (code=%u)", ldo_code);
    return 0;
}

int bq25155_read_status(const struct device *i2c, bool *usb_present, bool *charging)
{
    uint8_t s = 0;
    int err = r8(i2c, BQ25155_REG_STATUS, &s);
    if (err) return err;

    if (usb_present) *usb_present = (s & BQ25155_STATUS_USB_OK) != 0;
    if (charging)    *charging    = (s & BQ25155_STATUS_CHG)    != 0;
    return 0;
}

int bq25155_read_vbat_mv(const struct device *i2c, uint16_t *vbat_mv)
{
    /* 10-bit VBAT in MSB[7:0] + LSB[7:6], 8 mV/LSB */
    uint8_t msb = 0, lsb = 0;
    int err = r8(i2c, BQ25155_REG_BAT_MSB, &msb);
    if (err) return err;
    err = r8(i2c, BQ25155_REG_BAT_LSB, &lsb);
    if (err) return err;

    uint16_t raw = ((uint16_t)msb << 2) | ((lsb >> 6) & 0x03);
    uint32_t mv  = (uint32_t)raw * (uint32_t)BQ25155_VBAT_LSB_MV;

    if (vbat_mv) *vbat_mv = (uint16_t)mv;
    return 0;
}
```

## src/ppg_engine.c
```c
/* -----------------------------------------------------------------------------
 * PPG Engine (MAX30102) – implementation
 *  - Uses Zephyr sensor driver (CONFIG_MAX30102=y, CONFIG_SENSOR=y)
 *  - Samples at ~50 Hz in a delayable work item
 *  - Computes HR via peak spacing; SpO2 via ratio-of-ratios with median
 *    over recent beats; lightweight smoothing and sanity checks
 * -------------------------------------------------------------------------- */
#include <zephyr/kernel.h>
#include <zephyr/device.h>
#include <zephyr/devicetree.h>
#include <zephyr/drivers/sensor.h>
#include <zephyr/logging/log.h>
#include <math.h>
#include <string.h>
#include "ppg_engine.h"

LOG_MODULE_REGISTER(ppg, LOG_LEVEL_INF);

/* ===== Build-time feature check ========================================== */
#if !defined(CONFIG_SENSOR) || \
    !DT_HAS_COMPAT_STATUS_OKAY(maxim_max30102)
#warning "PPG engine built without DT 'maxim,max30102'; it will return -ENODEV."
#endif

/* ===== Sampler config ===================================================== */
#define PPG_SPS_HZ          50           /* target sample rate */
#define PPG_DT_MS           (1000/PPG_SPS_HZ)
#define PPG_WIN_SEC         4            /* analysis window in seconds */
#define PPG_WIN_LEN         (PPG_SPS_HZ * PPG_WIN_SEC)   /* 200 */
#define PPG_MIN_HR_BPM      30
#define PPG_MAX_HR_BPM      220
#define PPG_MIN_BEATS       2            /* need ≥2 intervals */

/* ===== Internal ring buffer ============================================== */
static uint32_t ring_ir[PPG_WIN_LEN];
static uint32_t ring_red[PPG_WIN_LEN];
static uint16_t ring_idx;
static bool     ring_filled;

/* ===== MAX30102 device handle ============================================ */
#if defined(CONFIG_SENSOR) && DT_HAS_COMPAT_STATUS_OKAY(maxim_max30102)
static const struct device *dev_ppg = DEVICE_DT_GET_ONE(maxim_max30102);
#else
/* stub build: dev_ppg unused */
#endif


/* ===== Sampler worker ===================================================== */
static struct k_work_delayable ppg_work;

/* Forward decl */
static void ppg_sample_fn(struct k_work *work);

/* ===== Small helpers ====================================================== */
static inline uint32_t clamp_u32(uint32_t v, uint32_t lo, uint32_t hi) {
    return (v < lo) ? lo : (v > hi ? hi : v);
}

static void ring_push(uint32_t ir, uint32_t red)
{
    ring_ir[ring_idx]  = ir;
    ring_red[ring_idx] = red;
    ring_idx = (ring_idx + 1) % PPG_WIN_LEN;
    if (ring_idx == 0) ring_filled = true;
}

/* Copy the most recent window into contiguous arrays for analysis */
static int copy_window(uint32_t *ir_out, uint32_t *red_out)
{
    if (!ring_filled && ring_idx < PPG_WIN_LEN/2) return -EAGAIN; /* warm-up */
    const uint16_t start = ring_filled ? ring_idx : 0;
    const uint16_t n     = ring_filled ? PPG_WIN_LEN : ring_idx;

    if (!n) return -EAGAIN;

    if (ring_filled) {
        const uint16_t first = PPG_WIN_LEN - start;
        memcpy(ir_out,  &ring_ir[start],  first * sizeof(uint32_t));
        memcpy(red_out, &ring_red[start], first * sizeof(uint32_t));
        memcpy(ir_out + first,  &ring_ir[0],  start * sizeof(uint32_t));
        memcpy(red_out + first, &ring_red[0], start * sizeof(uint32_t));
    } else {
        memcpy(ir_out,  ring_ir,  n * sizeof(uint32_t));
        memcpy(red_out, ring_red, n * sizeof(uint32_t));
    }
    return n;
}

/* ===== Core algorithm =====================================================
 * - Detrend (remove DC mean)
 * - 4-sample moving average smoothing
 * - Valley/peak detection on IR (inverted) with min distance
 * - HR from mean inter-peak distance
 * - SpO2 from ratio-of-ratios: median across valid beats
 * This is a clean-room, simplified approach suitable for demo-quality data.
 * Fine-tuning thresholds may be needed per board/LED current.
 * ======================================================================= */

/* simple ascending sort for small arrays */
static void isort_int(int *a, int n) {
    for (int i=1;i<n;i++){int t=a[i],j=i-1;while(j>=0&&a[j]>t){a[j+1]=a[j];j--;}a[j+1]=t;}
}

/* returns #peaks found; peaks[] hold indices */
static int find_peaks(const int32_t *x, int n, int min_height, int min_dist, int *peaks, int maxp)
{
    int np=0;
    for (int i=1;i<n-1;i++) {
        if (x[i] > min_height && x[i] > x[i-1] && x[i] >= x[i+1]) {
            /* enforce min distance: keep only dominant in the neighborhood */
            bool too_close=false;
            for (int j=0;j<np;j++){
                if (abs(peaks[j]-i) < min_dist) {
                    if (x[i] > x[peaks[j]]) peaks[j] = i;
                    too_close = true;
                    break;
                }
            }
            if (!too_close && np < maxp) peaks[np++] = i;
        }
    }
    /* sort ascending */
    isort_int(peaks, np);
    return np;
}

/* robust median of small int array */
static int median_int(const int *a, int n) {
    if (n<=0) return 0;
    int tmp[8]; /* enough for our use */
    int m = (n > 8) ? 8 : n;
    for (int i=0;i<m;i++) tmp[i]=a[i];
    isort_int(tmp, m);
    return (m&1)? tmp[m/2] : (tmp[m/2-1]+tmp[m/2])/2;
}

/* Core analysis – returns 0 if both metrics computed or partially valid */
static int analyze_ppg(const uint32_t *ir_u, const uint32_t *red_u, int n,
                       uint8_t *hr_bpm, bool *hr_ok,
                       uint8_t *spo2_pct, bool *spo2_ok)
{
    if (n < PPG_SPS_HZ*2) return -EAGAIN;

    /* 1) Detrend and smooth IR (also RED for AC/DC later) */
    static int32_t ir[PPG_WIN_LEN], red[PPG_WIN_LEN];
    int64_t sum_ir=0, sum_red=0;
    for (int i=0;i<n;i++){sum_ir+=ir_u[i];sum_red+=red_u[i];}
    const int32_t mean_ir  = (int32_t)(sum_ir / n);
    const int32_t mean_red = (int32_t)(sum_red / n);

    for (int i=0;i<n;i++){ ir[i]  = (int32_t)ir_u[i]  - mean_ir;
                           red[i] = (int32_t)red_u[i] - mean_red; }
    /* 4-sample moving average (very light LPF) */
    for (int i=0;i<n-3;i++){ ir[i]  = (ir[i]+ir[i+1]+ir[i+2]+ir[i+3]) / 4;
                             red[i] = (red[i]+red[i+1]+red[i+2]+red[i+3]) / 4; }

    /* 2) Peak detection on inverted IR → valleys in original */
    static int32_t inv_ir[PPG_WIN_LEN];
    for (int i=0;i<n;i++) inv_ir[i] = -ir[i];

    /* automatic height threshold from average absolute value */
    int64_t abs_acc=0;
    for (int i=0;i<n;i++) abs_acc += (inv_ir[i]>=0 ? inv_ir[i] : -inv_ir[i]);
    int min_height = (int)(abs_acc / n);
    if (min_height < 10) min_height = 10;  /* floor */
    if (min_height > 2000) min_height = 2000;

    /* refractory = 0.3 s → samples */
    const int min_dist = (int)(PPG_SPS_HZ * 0.3f);

    int peaks[16]; /* enough for 4 s @ 50 Hz */
    int np = find_peaks(inv_ir, n, min_height, min_dist, peaks, 16);

    /* 3) HR from inter-peak distance */
    *hr_ok = false; *spo2_ok = false;
    if (np >= PPG_MIN_BEATS+1) {
        int intervals[16];
        int ni=0;
        for (int i=1;i<np;i++) {
            const int d = peaks[i] - peaks[i-1];
            if (d > 0) intervals[ni++] = d;
        }
        if (ni > 0) {
            /* mean interval → BPM */
            double mean_samp=0.0;
            for (int i=0;i<ni;i++) mean_samp += intervals[i];
            mean_samp /= ni;
            double bpm = 60.0 * (double)PPG_SPS_HZ / mean_samp;
            if (bpm >= PPG_MIN_HR_BPM && bpm <= PPG_MAX_HR_BPM) {
                *hr_bpm = (uint8_t)lround(bpm);
                *hr_ok  = true;
            }
        }
    }

    /* 4) SpO2 via ratio-of-ratios over each beat segment
          R = (ACred/DCred) / (ACir/DCir) ; map R→SpO2 with a simple fit
       We use a linearized mapping typical for demo: SpO2 ≈ 110 - 25*R
       (You can swap this with a calibrated table later.)
    */
    if (np >= PPG_MIN_BEATS+1) {
        int ratios_q7[8]; int nr=0; /* store 100*R for small ints */
        for (int k=0; k<np-1 && nr<8; k++) {
            int a = peaks[k], b = peaks[k+1];
            if (b - a < min_dist) continue;

            /* DC as max over [a,b); AC = peak-to-peak relative to linear baseline */
            int32_t ir_max = -2147483647, red_max = -2147483647;
            for (int i=a;i<b;i++){ if (ir[i]  > ir_max)  ir_max  = ir[i];
                                   if (red[i] > red_max) red_max = red[i]; }
            /* Use RMS as AC proxy for robustness */
            double ir_rms=0, red_rms=0;
            for (int i=a;i<b;i++){ ir_rms  += (double)ir[i]*ir[i];
                                   red_rms += (double)red[i]*red[i]; }
            int len = b-a;
            if (len < 4) continue;
            ir_rms  = sqrt(ir_rms/len);
            red_rms = sqrt(red_rms/len);

            /* Guard */
            if (ir_max==0 || red_max==0 || ir_rms<=1e-3 || red_rms<=1e-3) continue;

            double R = (red_rms / (double)red_max) / (ir_rms / (double)ir_max);
            int Rq = (int)lround(R * 100.0);
            if (Rq > 0 && Rq < 300) ratios_q7[nr++] = Rq;
        }

        if (nr > 0) {
            int Rmed = median_int(ratios_q7, nr);   /* median 100*R */
            double R = Rmed / 100.0;
            /* Demo mapping; refine with calibration later */
            double spo2 = 110.0 - 25.0*R;
            if (spo2 < 70.0) spo2 = 70.0;
            if (spo2 > 100.0) spo2 = 100.0;
            *spo2_pct = (uint8_t)lround(spo2);
            *spo2_ok  = true;
        }
    }

    return (*hr_ok || *spo2_ok) ? 0 : -EAGAIN;
}

/* ===== Public API ========================================================= */
int ppg_engine_init(void)
{
    ring_idx = 0; ring_filled = false;
#if defined(CONFIG_SENSOR) && defined(CONFIG_MAX30102)
    dev_ppg = DEVICE_DT_GET_ONE(maxim_max30102);
    if (!device_is_ready(dev_ppg)) {
        LOG_WRN("MAX30102 not ready");
        return -ENODEV;
    }
    /* Start sampler */
    k_work_init_delayable(&ppg_work, ppg_sample_fn);
    k_work_schedule(&ppg_work, K_MSEC(PPG_DT_MS));
    LOG_INF("PPG engine started (MAX30102, %d Hz)", PPG_SPS_HZ);
    return 0;
#else
    LOG_WRN("PPG engine compiled without MAX30102 support");
    return -ENODEV;
#endif
}

void ppg_engine_stop(void)
{
    k_work_cancel_delayable(&ppg_work);
}

int ppg_engine_latest(uint8_t *hr_bpm, bool *hr_ok,
                      uint8_t *spo2_pct, bool *spo2_ok)
{
    uint32_t ir[PPG_WIN_LEN], red[PPG_WIN_LEN];
    int n = copy_window(ir, red);
    if (n < 0) return n;
    return analyze_ppg(ir, red, n, hr_bpm, hr_ok, spo2_pct, spo2_ok);
}

/* ===== Sampling worker: fetch a sample and push to ring =================== */
static void ppg_sample_fn(struct k_work *work)
{
    ARG_UNUSED(work);

#if defined(CONFIG_SENSOR) && defined(CONFIG_MAX30102)
    struct sensor_value ir_sv = {0}, red_sv = {0};

    /* Fetch latest sample; if sensor is set to FIFO mode with >1 sample,
       the driver typically returns the newest processed values. */
    if (sensor_sample_fetch(dev_ppg) == 0) {
        /* Prefer RAW channels if driver exposes them; fall back to IR/RED. */
#ifdef SENSOR_CHAN_IR
        (void)sensor_channel_get(dev_ppg, SENSOR_CHAN_IR, &ir_sv);
#endif
#ifdef SENSOR_CHAN_RED
        (void)sensor_channel_get(dev_ppg, SENSOR_CHAN_RED, &red_sv);
#endif
        /* Convert to integer counts; if driver already reports counts in .val1,
           keep it; otherwise scale from micro-units. */
        uint32_t ir  = (ir_sv.val1 > 0) ? (uint32_t)ir_sv.val1
                                        : (uint32_t)(ir_sv.val2 / 1000); /* best-effort */
        uint32_t red = (red_sv.val1 > 0) ? (uint32_t)red_sv.val1
                                         : (uint32_t)(red_sv.val2 / 1000);

        ir  = clamp_u32(ir,  0, 0x03FFFF);   /* MAX30102 is 18-bit effective */
        red = clamp_u32(red, 0, 0x03FFFF);
        ring_push(ir, red);
    }
    /* reschedule */
    k_work_schedule(&ppg_work, K_MSEC(PPG_DT_MS));
#endif
}
```
